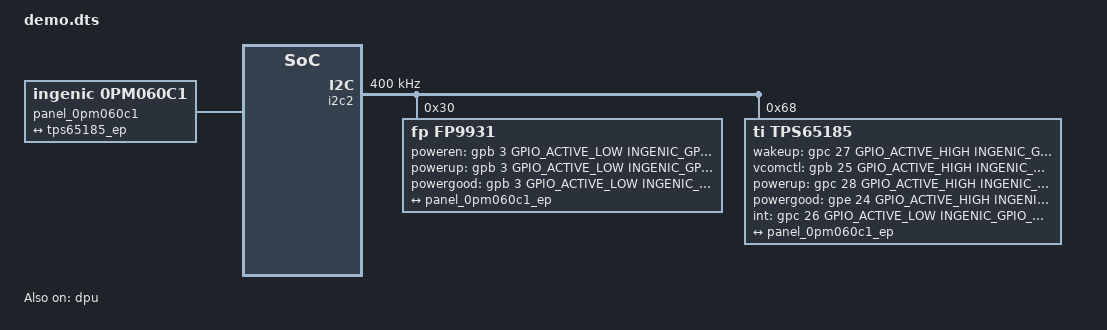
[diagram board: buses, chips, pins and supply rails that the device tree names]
&i2c2 {
	clock-frequency = <400000>;
	pinctrl-names = "default";
	pinctrl-0 = <&i2c2_pb>;
	status = "okay";

	fp9931@0x30{
		compatible = "fp,fp9931";
		reg = <0x30>; /* do not modify */

		poweren-gpio = <&gpb 3 GPIO_ACTIVE_LOW INGENIC_GPIO_NOBIAS>;
		powerup-gpio = <&gpb 3 GPIO_ACTIVE_LOW INGENIC_GPIO_NOBIAS>;
		powergood-gpio = <&gpb 3 GPIO_ACTIVE_LOW INGENIC_GPIO_NOBIAS>;
		//tempen = <&gpb 3 GPIO_ACTIVE_LOW INGENIC_GPIO_NOBIAS>;
	    port {
			fp9931_ep:endpoint {
				remote-endpoint = <&panel_0pm060c1_ep>;
			};
		};
	};

    tps65185@0x68{
		compatible = "ti,tps65185";
		reg = <0x68>; /* do not modify */

		//poeren-gpio = <&gpb 3 GPIO_ACTIVE_LOW INGENIC_GPIO_NOBIAS>;
		wakeup-gpios = <&gpc 27 GPIO_ACTIVE_HIGH INGENIC_GPIO_NOBIAS>;
		vcomctl-gpios = <&gpb 25 GPIO_ACTIVE_HIGH INGENIC_GPIO_NOBIAS>;
		powerup-gpios = <&gpc 28 GPIO_ACTIVE_HIGH INGENIC_GPIO_NOBIAS>;
		powergood-gpios = <&gpe 24 GPIO_ACTIVE_HIGH INGENIC_GPIO_NOBIAS>;

		int-gpios = <&gpc 26 GPIO_ACTIVE_LOW INGENIC_GPIO_NOBIAS>;
	    port {
			tps65185_ep:endpoint {
				remote-endpoint = <&panel_0pm060c1_ep>;
			};
		};
	};
};

&dpu {
	status = "okay";
	ingenic,disable-rdma-fb = <0>;
	/*Defines the init state of composer fb export infomations.*/
	ingenic,layer-exported = <0 0 0 0>;
	ingenic,layer-frames   = <3 2 2 2>;
	ingenic,layer-framesize = <720 1280>, <720 1280>, <320 240>, <320 240>;   /*Max framesize for each layer.*/
	layer,color_mode	= <0 0 0 0>;					/*src fmt,*/
	layer,src-size       	= <720 1280>, <720 1280>, <320 240>, <240 200>;	/*Layer src size should smaller than framesize*/
	layer,target-size	= <720 1280>, <720 640>, <160 240>, <240 200>;	/*Target Size should smaller than src_size.*/
	layer,target-pos	= <0 0>, <0 640>, <340 480>, <100 980>;	/*target pos , the start point of the target panel.*/
	layer,enable		= <1 1 1 1>;					/*layer enabled or disabled.*/
	ingenic,logo-pan-layer	= <0>;						/*on which layer should init logo pan on.*/
	port {
		dpu_out_ep: endpoint {
			remote-endpoint = <&panel_0pm060c1_ep>;
	    };
	};
};

lcd_pins: lcd-pins {
	epd_lcd_pb_16bit: epd-lcd-pb-16bit {
		ingenic,pinmux = <&gpb 0 15>,<&gpb 24 24>;
		ingenic,pinmux-funcsel = <PINCTL_FUNCTION1>;

	};
	epd_lcd_pb_24bit: epd-lcd-pb-24bit {
		ingenic,pinmux = <&gpb 0 7>, <&gpb 16 21>, <&gpb 24 24>;
		ingenic,pinmux-funcsel = <PINCTL_FUNCTION1>;
		ingenic,pincfg = <&gpb 0 7 PINCFG_PACK(PINCTL_CFG_DRIVE_STRENGTH, 7)>,\
		<&gpb 16 21 PINCFG_PACK(PINCTL_CFG_DRIVE_STRENGTH, 7)>, \
		<&gpb 24 24 PINCFG_PACK(PINCTL_CFG_DRIVE_STRENGTH, 7)>;

	};
};

display-dbi {
	compatible = "simple-bus";
	#interrupt-cells = <1>;
	#address-cells = <1>;
	#size-cells = <1>;
	ranges = <>;

	panel_0pm060c1 {
		compatible = "ingenic,0PM060C1";
		status = "okay";
		pinctrl-names = "default";
		pinctrl-0 = <&epd_lcd_pb_24bit>;
		port {
			panel_0pm060c1_ep:endpoint {
				remote-endpoint = <&tps65185_ep>;
			};
		};
	};
};
